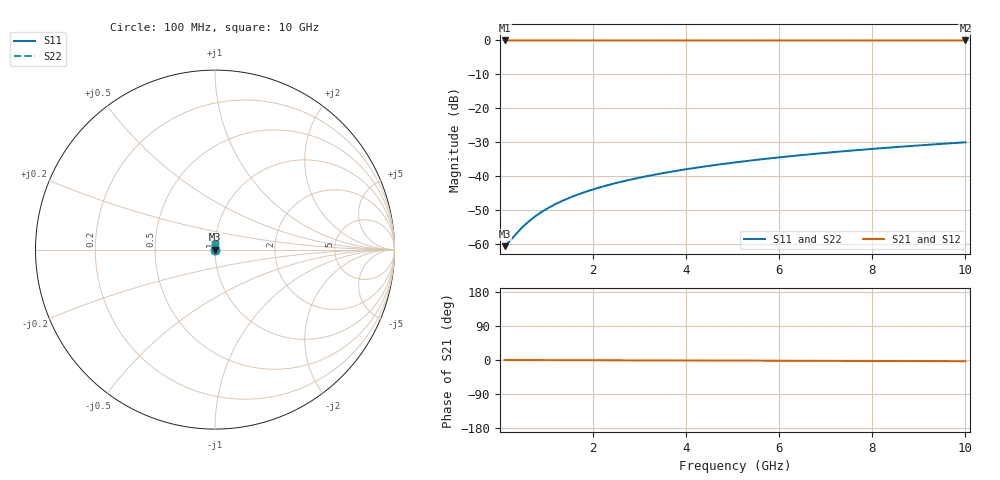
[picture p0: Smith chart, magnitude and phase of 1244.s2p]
# Hz S RI R 50.00
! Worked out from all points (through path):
!   100 points, 100 MHz to 10 GHz, reference 50 ohm
!   highest |S21| = -0.01 dB at 100 MHz (marker M1); lowest = 0.0 dB at 10 GHz (marker M2)
!   lowest |S11| = -60.8 dB at 100 MHz (marker M3), VSWR 1.00, Z = 50.1 + j0.0312 ohm
!   |S11| at or under -10 dB: start of sweep to end of sweep
!   |S22| runs from -60.8 to -30.1 dB; largest |S21 - S12| = 0
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1e8  0.00086 0.000311  0.9991 -0.000556  0.9991 -0.000556  0.00086 0.000311
2e8  0.000866 0.000622  0.9991 -0.00111  0.9991 -0.00111  0.000866 0.000622
4e8  0.000876 0.00124  0.9991 -0.00222  0.9991 -0.00222  0.000876 0.00124
5e8  0.00088 0.00156  0.9991 -0.00278  0.9991 -0.00278  0.00088 0.00156
6e8  0.000884 0.00187  0.9991 -0.00334  0.9991 -0.00334  0.000884 0.00187
7e8  0.000889 0.00218  0.9991 -0.00389  0.9991 -0.00389  0.000889 0.00218
8e8  0.000893 0.00249  0.9991 -0.00445  0.9991 -0.00445  0.000893 0.00249
1e9  0.000903 0.00311  0.9991 -0.00556  0.9991 -0.00556  0.000903 0.00311
1.2e9  0.000914 0.00373  0.9991 -0.00667  0.9991 -0.00667  0.000914 0.00373
1.5e9  0.000932 0.00467  0.9991 -0.00834  0.9991 -0.00834  0.000932 0.00467
1.8e9  0.000953 0.0056  0.999 -0.01  0.999 -0.01  0.000953 0.0056
2.1e9  0.000977 0.00653  0.999 -0.0117  0.999 -0.0117  0.000977 0.00653
2.5e9  0.00101 0.00778  0.999 -0.0139  0.999 -0.0139  0.00101 0.00778
2.9e9  0.00105 0.00902  0.9989 -0.0161  0.9989 -0.0161  0.00105 0.00902
3.4e9  0.00111 0.0106  0.9988 -0.0189  0.9988 -0.0189  0.00111 0.0106
4.2e9  0.00122 0.0131  0.9987 -0.0234  0.9987 -0.0234  0.00122 0.0131
5.1e9  0.00138 0.0159  0.9985 -0.0284  0.9985 -0.0284  0.00138 0.0159
5.9e9  0.00154 0.0184  0.9983 -0.0328  0.9983 -0.0328  0.00154 0.0184
6.7e9  0.00172 0.0209  0.9981 -0.0373  0.9981 -0.0373  0.00172 0.0209
7.5e9  0.00192 0.0233  0.9979 -0.0418  0.9979 -0.0418  0.00192 0.0233
8.4e9  0.00218 0.0262  0.9976 -0.0468  0.9976 -0.0468  0.00218 0.0262
1e10  0.0027 0.0312  0.997 -0.0557  0.997 -0.0557  0.0027 0.0312
